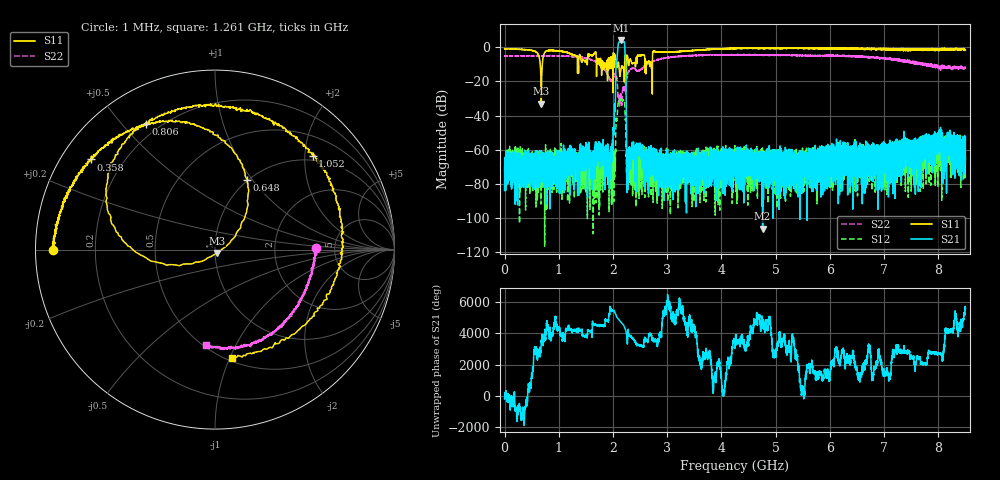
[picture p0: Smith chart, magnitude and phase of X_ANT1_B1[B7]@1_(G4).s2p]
#  HZ  S  RI  R  50.00
! Rohde & Schwarz Vector Network Analyzer
! Rohde-Schwarz,ZNBT8-20Port,1318700624101681,3.50
! Created: UTC 7/15/2025, 2:12:18 PM
! freq[Hz]  re:S1010  im:S1010  re:S0610  im:S0610  re:S1006  im:S1006  re:S66  im:S66
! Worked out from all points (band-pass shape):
!   8500 points, 1 MHz to 8.5 GHz, reference 50 ohm
!   highest |S21| = 3.99 dB at 2.143 GHz (marker M1); lowest = -106.1 dB at 4.76 GHz (marker M2)
!   |S21| within 3 dB of the highest: 2.093 GHz to 2.216 GHz (122.9 MHz wide, 5.7 % of centre)
!   lowest |S11| = -33.0 dB at 678 MHz (marker M3), VSWR 1.05, Z = 51.1 - j1.97 ohm
!   |S11| at or under -10 dB: 657.7 MHz to 696.3 MHz (38.56 MHz wide, 5.7 % of centre); 2.063 GHz to 2.089 GHz (26.4 MHz wide, 1.27 % of centre); 2.106 GHz to 2.214 GHz (107.8 MHz wide, 4.99 % of centre)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
!   |S22| runs from -34.3 to -4.1 dB; largest |S21 - S12| = 1.6
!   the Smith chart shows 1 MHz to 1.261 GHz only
!   S11 on the Smith chart (normalised r, x): 1 MHz: 0.05, -0.00; 358 MHz: 0.09, +0.32; 648 MHz: 0.99, +0.94; 806 MHz: 0.15, +0.58; 1.052 GHz: 0.90, +2.17; 1.261 GHz: 0.53, -1.02
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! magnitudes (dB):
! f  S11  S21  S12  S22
! 1 MHz  -0.9  -83.8  -72.6  -5.0
! 358 MHz  -1.4  -64.8  -73.5  -5.1
! 648 MHz  -7.4  -71.2  -76.2  -5.0
! 678 MHz  -33.0  -60.7  -74.9  -5.0
! 806 MHz  -2.0  -64.3  -68.8  -4.9
! 1.052 GHz  -2.5  -67.7  -67.5  -5.0
! 1.261 GHz  -4.3  -64.3  -73.8  -5.4
! 1.418 GHz  -8.4  -62.4  -68.3  -5.9
! 1.953 GHz  -7.5  -72.7  -66.1  -19.4
! 2.008 GHz  -3.1  -46.9  -72.3  -17.5
! 2.089 GHz  -10.0  -0.6  -34.7  -27.0
! 2.143 GHz  -13.3  4.0  -30.3  -28.2
! 2.205 GHz  -15.3  2.9  -31.2  -23.4
! 2.293 GHz  -10.0  -58.6  -68.1  -13.9
! 2.495 GHz  -4.7  -57.2  -65.6  -13.3
! 2.685 GHz  -10.9  -66.6  -68.3  -9.0
! 2.834 GHz  -2.8  -64.8  -67.0  -7.2
! 4.251 GHz  -0.6  -68.9  -62.7  -4.6
! 4.76 GHz  -0.5  -106.1  -66.7  -4.7
! 5.667 GHz  -0.4  -68.2  -76.5  -4.9
! 7.084 GHz  -1.0  -61.5  -68.1  -6.8
! 8.5 GHz  -1.8  -52.4  -66.0  -12.0
